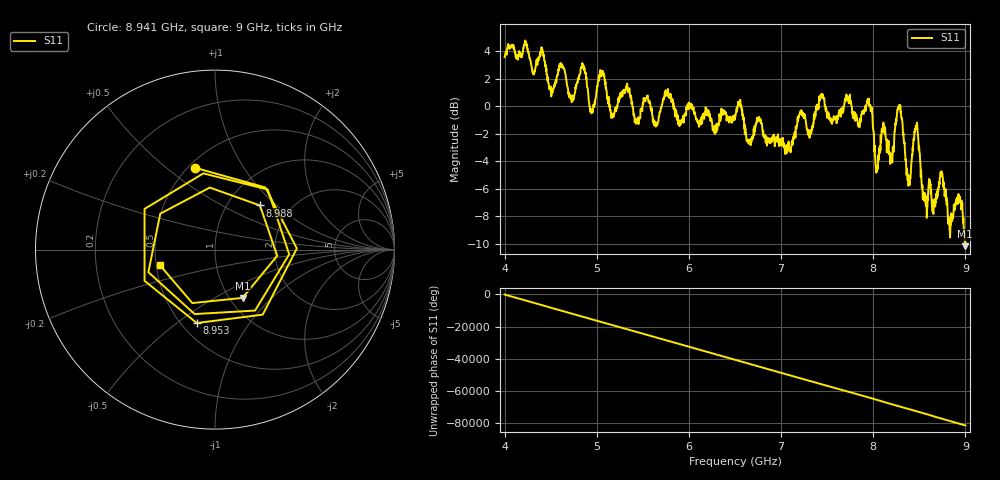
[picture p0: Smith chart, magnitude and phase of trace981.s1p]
! Created with skrf 1.8.0 (http://scikit-rf.org).
# Hz S RI R 50.0
!freq ReS11 ImS11
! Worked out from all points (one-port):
!   1601 points, 4 GHz to 9 GHz, reference 50 ohm
!   lowest |S11| = -10.2 dB at 8.994 GHz (marker M1), VSWR 1.90, Z = 57.3 - j34.1 ohm
!   |S11| at or under -10 dB: 8.993471 GHz to 8.995411 GHz (1.94 MHz wide, 0.0216 % of centre)
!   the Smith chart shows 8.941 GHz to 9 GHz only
!   S11 on the Smith chart (normalised r, x): 8.941 GHz: 0.54, +0.63; 8.953 GHz: 0.60, -0.59; 8.988 GHz: 1.41, +0.79; 9 GHz: 0.52, -0.10
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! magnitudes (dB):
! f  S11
! 4 GHz  3.6
! 4.406 GHz  4.2
! 4.509 GHz  0.8
! 4.625 GHz  3.0
! 4.728 GHz  0.3
! 4.856 GHz  2.8
! 4.944 GHz  -0.3
! 5.053 GHz  2.5
! 5.162 GHz  -0.5
! 5.25 GHz  0.5
! 5.875 GHz  -0.9
! 6.5 GHz  -0.6
! 7.125 GHz  -2.8
! 7.438 GHz  0.9
! 7.75 GHz  0.4
! 7.959 GHz  0.0
! 8.038 GHz  -4.8
! 8.106 GHz  -1.4
! 8.2 GHz  -3.6
! 8.288 GHz  0.1
! 8.375 GHz  -5.3
! 8.462 GHz  -1.4
! 8.562 GHz  -6.6
! 8.941 GHz  -6.6
! 8.953 GHz  -7.5
! 8.988 GHz  -9.1
! 8.994 GHz  -10.2
! 9 GHz  -9.9
